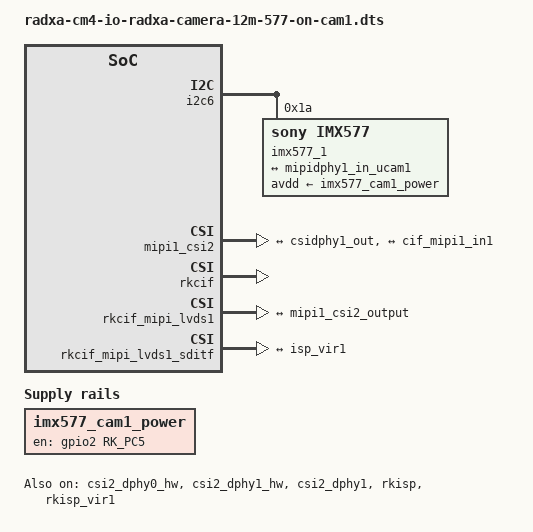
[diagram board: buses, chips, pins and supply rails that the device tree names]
/dts-v1/;
/plugin/;

#include <dt-bindings/power/rk3576-power.h>
#include <dt-bindings/gpio/gpio.h>
#include <dt-bindings/pinctrl/rockchip.h>

/ {
	metadata {
		title = "Enable Radxa Camera 12M 577 on CAM1 (15-pin)";
		compatible = "radxa,cm4-io";
		category = "camera";
		exclusive = "GPIO2_C5", "csi2_dphy1", "i2c6";
		description = "Enable Radxa Camera 12M 577 on CAM1 (15-pin)";
	};
};

&{/} {
	imx577_cam1_power: imx577-cam1-power {
		compatible = "regulator-fixed";
		regulator-name = "imx577_cam1_power";
		startup-delay-us = <250000>;
		off-on-delay-us = <20000>;
		enable-active-high;
		gpio = <&gpio2 RK_PC5 GPIO_ACTIVE_HIGH>;
		pinctrl-names = "default";
		pinctrl-0 = <&imx577_cam1_power_pin>;
	};
};

&i2c6 {
	status = "okay";
	pinctrl-names = "default";
	pinctrl-0 = <&i2c6m3_xfer>;
	#address-cells = <1>;
	#size-cells = <0>;

	imx577_1: imx577@1a {
		status = "okay";
		compatible = "sony,imx577";
		reg = <0x1a>;
		power-domains = <&power RK3576_PD_VI>;
		avdd-supply = <&imx577_cam1_power>;
		rockchip,camera-module-index = <0>;
		rockchip,camera-module-facing = "back";
		rockchip,camera-module-name = "RADXA-CAMERA-12M";
		rockchip,camera-module-lens-name = "default";

		port {
			imx577_out1: endpoint {
				remote-endpoint = <&mipidphy1_in_ucam1>;
				data-lanes = <1 2>;
			};
		};
	};
};

&csi2_dphy0_hw {
	status = "okay";
};

&csi2_dphy1_hw {
	status = "okay";
};

&csi2_dphy1 {
	status = "okay";

	ports {
		#address-cells = <1>;
		#size-cells = <0>;

		port@0 {
			reg = <0>;
			#address-cells = <1>;
			#size-cells = <0>;

			mipidphy1_in_ucam1: endpoint@2 {
				reg = <2>;
				remote-endpoint = <&imx577_out1>;
				data-lanes = <1 2>;
			};
		};

		port@1 {
			reg = <1>;
			#address-cells = <1>;
			#size-cells = <0>;

			csidphy1_out: endpoint@0 {
				reg = <0>;
				remote-endpoint = <&mipi1_csi2_input>;
			};
		};
	};
};

&mipi1_csi2 {
	status = "okay";

	ports {
		#address-cells = <1>;
		#size-cells = <0>;

		port@0 {
			reg = <0>;
			#address-cells = <1>;
			#size-cells = <0>;

			mipi1_csi2_input: endpoint@1 {
				reg = <1>;
				remote-endpoint = <&csidphy1_out>;
			};
		};

		port@1 {
			reg = <1>;
			#address-cells = <1>;
			#size-cells = <0>;

			mipi1_csi2_output: endpoint@0 {
				reg = <0>;
				remote-endpoint = <&cif_mipi1_in1>;
			};
		};
	};
};

&rkcif {
	status = "okay";
};

&rkcif_mmu {
	status = "okay";
};

&rkcif_mipi_lvds1 {
	status = "okay";

	port {
		cif_mipi1_in1: endpoint {
			remote-endpoint = <&mipi1_csi2_output>;
		};
	};
};

&rkcif_mipi_lvds1_sditf {
	status = "okay";

	port {
		mipi_lvds1_sditf: endpoint {
			remote-endpoint = <&isp_vir1>;
		};
	};
};

&rkisp_mmu {
	status = "okay";
};

&rkisp {
	status = "okay";
};

&rkisp_vir1 {
	status = "okay";

	port {
		#address-cells = <1>;
		#size-cells = <0>;

		isp_vir1: endpoint@0 {
			reg = <0>;
			remote-endpoint = <&mipi_lvds1_sditf>;
		};
	};
};

&pinctrl {
	camera {
		imx577_cam1_power_pin: imx577-cam1-power-pin {
			rockchip,pins = <2 RK_PC5 RK_FUNC_GPIO &pcfg_pull_up>;
		};
	};
};
